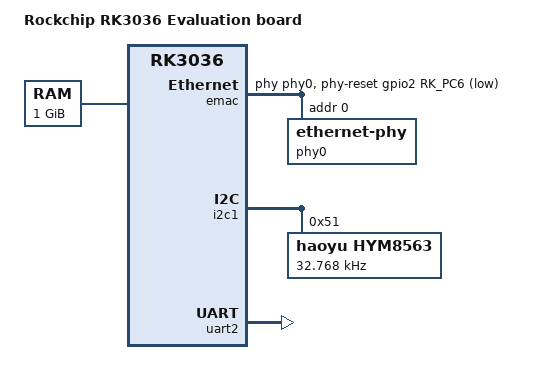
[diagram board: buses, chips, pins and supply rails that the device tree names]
// SPDX-License-Identifier: (GPL-2.0+ OR MIT)

/dts-v1/;

#include "rk3036.dtsi"

/ {
	model = "Rockchip RK3036 Evaluation board";
	compatible = "rockchip,rk3036-evb", "rockchip,rk3036";

	memory@60000000 {
		device_type = "memory";
		reg = <0x60000000 0x40000000>;
	};
};

&emac {
	pinctrl-names = "default";
	pinctrl-0 = <&emac_xfer>, <&emac_mdio>;
	phy = <&phy0>;
	phy-reset-gpios = <&gpio2 RK_PC6 GPIO_ACTIVE_LOW>; /* PHY_RST */
	phy-reset-duration = <10>; /* millisecond */

	status = "okay";

	phy0: ethernet-phy@0 {
		reg = <0>;
	};
};

&i2c1 {
	status = "okay";

	hym8563: rtc@51 {
		compatible = "haoyu,hym8563";
		reg = <0x51>;
		#clock-cells = <0>;
		clock-frequency = <32768>;
		clock-output-names = "xin32k";
	};
};

&uart2 {
	status = "okay";
};
